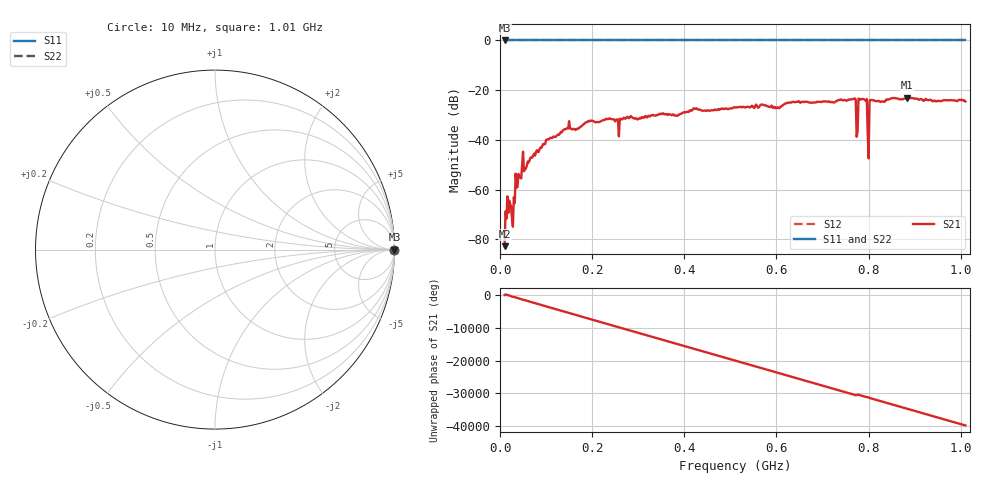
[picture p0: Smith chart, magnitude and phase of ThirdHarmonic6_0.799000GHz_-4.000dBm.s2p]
! 8/16/2025 2:38:15 AM
! C:\ANRITSUVNA\TEMP\TEMP.S2P
! CHANNEL.1
! TR.MEASUREMENT
! RAW.DATA
! RF.CORRECTION.OFF
! AVERAGING.OFF
! IF.BANDWIDTH: 5KHZ
! SWEEPTYPE:  FREQ.SWEEP(Linear)
! Reference Plane Port Info
! PORT:  PORT1  PORT2
! DISTANCE:  0  m  0  m
! TIME:  0  s  0  s
! PHASE.OFFSET:  0  deg.  0  deg.
! LOSS:  0  dB  0  dB
! REF.LOSS:  0  dB  0  dB
! REF.FREQ:  0  Hz  0  Hz
! Power Info
! POWER:  -20  dBm  -20  dBm
! EFF.POWER:  -20  dBm  -20  dBm
! SOURCE.ATTEN:  0  dB  0  dB
! TEST.ATTEN:  0  dB  0  dB
# GHZ S RI R 50.0
! FREQ.GHZ  S11RE  S11IM  S21RE  S21IM  S12RE  S12IM  S22RE  S22IM
!; PortSelection: Port_12
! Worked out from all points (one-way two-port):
!   501 points, 10 MHz to 1.01 GHz, reference 50 ohm
!   highest |S21| = -22.94 dB at 884 MHz (marker M1); lowest = -82.7 dB at 10 MHz (marker M2)
!   lowest |S11| = 0.0 dB at 10 MHz (marker M3)
!   |S11| at or under -10 dB: nowhere
!   |S22| runs from 0.0 to 0.0 dB; largest |S21 - S12| = 1.1
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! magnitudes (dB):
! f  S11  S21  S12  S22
! 10 MHz  0.0  -82.7  0.0  0.0
! 16 MHz  0.0  -62.7  0.0  0.0
! 20 MHz  0.0  -64.4  0.0  0.0
! 28 MHz  0.0  -74.9  0.0  0.0
! 38 MHz  0.0  -58.9  0.0  0.0
! 52 MHz  0.0  -52.6  0.0  0.0
! 104 MHz  0.0  -39.7  0.0  0.0
! 178 MHz  0.0  -34.3  0.0  0.0
! 344 MHz  0.0  -29.9  0.0  0.0
! 510 MHz  0.0  -26.9  0.0  0.0
! 678 MHz  0.0  -25.1  0.0  0.0
! 768 MHz  0.0  -23.5  0.0  0.0
! 772 MHz  0.0  -23.9  0.0  0.0
! 778 MHz  0.0  -23.4  0.0  0.0
! 782 MHz  0.0  -23.8  0.0  0.0
! 792 MHz  0.0  -23.9  0.0  0.0
! 796 MHz  0.0  -23.5  0.0  0.0
! 802 MHz  0.0  -24.2  0.0  0.0
! 806 MHz  0.0  -23.9  0.0  0.0
! 844 MHz  0.0  -23.7  0.0  0.0
! 884 MHz  0.0  -22.9  0.0  0.0
! 1.01 GHz  0.0  -24.5  0.0  0.0
